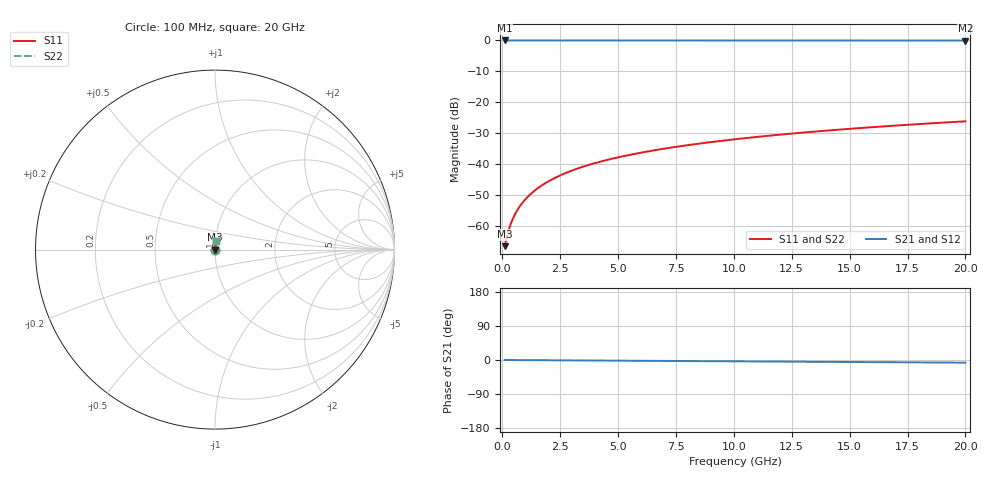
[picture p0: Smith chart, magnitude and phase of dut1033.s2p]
! Touchstone file exported from HFSS 2026.1.0
!  File:  C:/ffzhzh/LocalFiles/Ansys_Project_Files/temp_train_TSV_1033_1783189083_51560.aedt
!  Generated:  02:20:06 AM Jul  5, 2026
!  Design:  TSV
!  Project:  temp_train_TSV_1033_1783189083_51560
! Variables:
!  h_bsmrdl = 2um
!  h_ox = 20um
!  h_rdl = 5um
!  h_sub = 62.57um
!  h_tmrdl = 5um
!  h_tsv = 62.57um
!  h_via = 3um
!  l_bsmrdl = 300um
!  l_sub = 409.08um
!  l_tmrdl = 200um
!  m_sub = 200um
!  pitch = 33.63um
!  r_tsv = 4.54um
!  s_tmrdl = 10um
!  w_bsmrdl = 18um
!  w_sub = 500um
!  w_tmrdl = 12um
!  x_tsv_center1 = 206um
!  x_tsv_center2 = 524um
!  x_tsv_center3 = 736um
!  x_tsv_center4 = 1054um
!  x_tsv_center5 = 1266um
!  x_tsv_center6 = 1584um
# GHz S MA R 50.000000
! Terminal data exported
! Port[1] = TSV1_1_T1
! Port[2] = TSV1_1_T2
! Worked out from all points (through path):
!   200 points, 100 MHz to 20 GHz, reference 50 ohm
!   highest |S21| = 0.00 dB at 100 MHz (marker M1); lowest = 0.0 dB at 20 GHz (marker M2)
!   lowest |S11| = -66.5 dB at 100 MHz (marker M3), VSWR 1.00, Z = 50 + j0.0284 ohm
!   |S11| at or under -10 dB: start of sweep to end of sweep
!   |S22| runs from -66.5 to -26.1 dB; largest |S21 - S12| = 3.3e-15
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0.1  0.0004755 36.6  0.9996 -0.0  0.9996 -0.0  0.0004755 36.6
! Gamma 0 0 0 0
! Port Impedance 50 0 50 0
0.2  0.0006865 55.1  0.9996 -0.1  0.9996 -0.1  0.0006865 55.1
0.3  0.0009302 64.0  0.9996 -0.1  0.9996 -0.1  0.0009302 64.0
0.4  0.001182 69.0  0.9996 -0.1  0.9996 -0.1  0.001182 69.0
0.5  0.001437 72.3  0.9996 -0.2  0.9996 -0.2  0.001437 72.3
0.6  0.001693 74.6  0.9996 -0.2  0.9996 -0.2  0.001693 74.6
0.8  0.002208 77.6  0.9995 -0.3  0.9995 -0.3  0.002208 77.6
1.1  0.002984 80.2  0.9995 -0.4  0.9995 -0.4  0.002984 80.2
1.3  0.003504 81.2  0.9995 -0.5  0.9995 -0.5  0.003504 81.2
1.6  0.004283 82.3  0.9995 -0.6  0.9995 -0.6  0.004283 82.3
2.1  0.00558 83.3  0.9994 -0.8  0.9994 -0.8  0.00558 83.3
2.7  0.007127 83.8  0.9993 -1.0  0.9993 -1.0  0.007127 83.8
3.5  0.009169 84.1  0.9992 -1.3  0.9992 -1.3  0.009169 84.1
4.2  0.01094 84.2  0.9991 -1.5  0.9991 -1.5  0.01094 84.2
5  0.01294 84.1  0.999 -1.8  0.999 -1.8  0.01294 84.1
5.9  0.01518 84.1  0.9989 -2.1  0.9989 -2.1  0.01518 84.1
6.8  0.0174 84.0  0.9987 -2.4  0.9987 -2.4  0.0174 84.0
8.3  0.02108 83.7  0.9985 -2.9  0.9985 -2.9  0.02108 83.7
10.1  0.02547 83.4  0.9983 -3.6  0.9983 -3.6  0.02547 83.4
13.4  0.0335 82.6  0.9979 -4.7  0.9979 -4.7  0.0335 82.6
16.7  0.04149 81.8  0.9974 -5.9  0.9974 -5.9  0.04149 81.8
20  0.04943 80.8  0.9969 -7.0  0.9969 -7.0  0.04943 80.8
